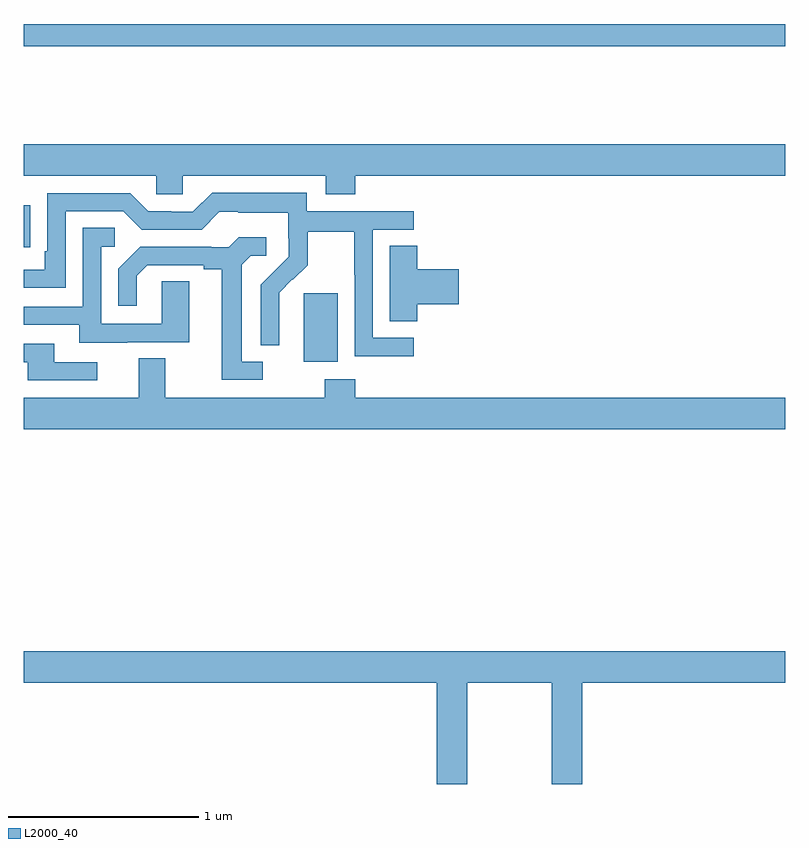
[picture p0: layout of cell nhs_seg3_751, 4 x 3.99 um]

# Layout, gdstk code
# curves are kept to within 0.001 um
import gdstk
lib = gdstk.Library(unit=1e-6, precision=1e-09)
def R(c, l, rs):  # rectangles x0, y0, x1, y1
    for r in rs: c.add(gdstk.rectangle(r[:2], r[2:], *l))
def P(c, l, *ps):  # polygons
    for p in ps: c.add(gdstk.Polygon(p, *l))
L2000_40 = (2000, 40)

nhs_seg3_751 = lib.new_cell('nhs_seg3_751')
R(nhs_seg3_751, L2000_40, [(150.47,686.618,150.649,686.979), (149,687.22,149.033,687.439), (149,688.276,153,688.392)])
P(nhs_seg3_751, L2000_40, [(150.74,687.596),(153,687.596),(153,687.76),(149,687.76),(149,687.596),(149.697,687.596),(149.697,687.498),(149.835,687.498),(149.835,687.596),(150.587,687.596),(150.587,687.497),(150.74,687.497)],
  [(151.048,686.745),(150.834,686.745),(150.834,687.312),(151.048,687.312),(151.048,687.408),(150.486,687.408),(150.486,687.505),(149.989,687.505),(149.889,687.405),(149.774,687.405),(149.774,687.408),(149.655,687.408),(149.559,687.504),(149.124,687.504),(149.124,687.199),(149.111,687.199),(149.111,687.102),(149,687.102),(149,687.006),(149.22,687.006),(149.22,687.408),(149.523,687.408),(149.619,687.312),(149.934,687.312),(150.027,687.405),(150.127,687.405),(150.127,687.401),(150.39,687.401),(150.39,687.267),(150.392,687.267),(150.392,687.17),(150.246,687.022),(150.246,686.704),(150.342,686.704),(150.341,686.981),(150.411,687.051),(150.414,687.048),(150.491,687.125),(150.491,687.3),(150.736,687.3),(150.736,687.076),(150.738,687.076),(150.738,686.647),(151.048,686.647)],
  [(149.545,686.721),(149.869,686.721),(149.869,687.041),(149.724,687.041),(149.724,686.817),(149.406,686.817),(149.406,687.222),(149.479,687.222),(149.479,687.323),(149.31,687.323),(149.31,686.907),(149,686.907),(149,686.811),(149.291,686.811),(149.291,686.717),(149.545,686.717)],
  [(150.256,686.619),(150.145,686.619),(150.145,687.127),(150.192,687.174),(150.274,687.174),(150.274,687.271),(150.13,687.271),(150.078,687.219),(149.984,687.219),(149.984,687.222),(149.612,687.222),(149.496,687.106),(149.496,686.913),(149.593,686.913),(149.593,687.069),(149.65,687.126),(149.945,687.126),(149.945,687.104),(150.041,687.104),(150.041,686.523),(150.256,686.523)],
  [(151.067,686.921),(151.285,686.921),(151.285,687.104),(151.067,687.104),(151.067,687.227),(150.923,687.227),(150.923,686.83),(151.067,686.83)],
  [(149.386,686.616),(149.161,686.616),(149.161,686.712),(149,686.712),(149,686.616),(149.021,686.616),(149.021,686.52),(149.386,686.52)],
  [(153,686.428),(150.74,686.428),(150.74,686.527),(150.58,686.527),(150.58,686.428),(149.743,686.428),(149.743,686.636),(149.603,686.636),(149.603,686.428),(149,686.428),(149,686.264),(153,686.264)],
  [(149,684.932),(151.169,684.932),(151.169,684.4),(151.329,684.4),(151.329,684.932),(151.774,684.932),(151.774,684.4),(151.934,684.4),(151.934,684.932),(153,684.932),(153,685.096),(149,685.096)])

lib.write_gds('nhs_seg3_751.gds')
